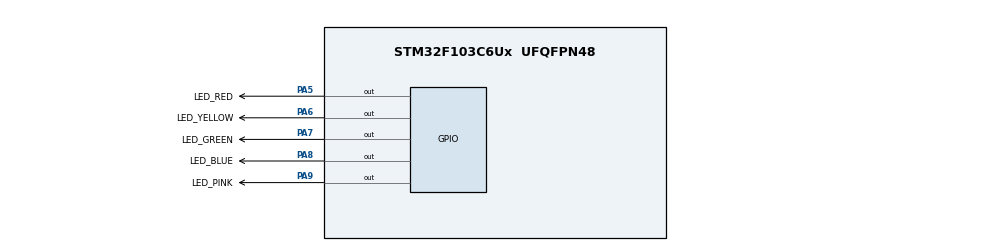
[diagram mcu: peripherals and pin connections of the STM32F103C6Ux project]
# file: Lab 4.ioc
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Mcu.Family=STM32F1
Mcu.Name=STM32F103C6Ux
Mcu.Package=UFQFPN48
NVIC.PriorityGroup=NVIC_PRIORITYGROUP_4
NVIC.TIM2_IRQn=true\:0\:0\:false\:false\:true\:true\:true
PA5.GPIO_Label=LED_RED
PA5.Signal=GPIO_Output
PA6.GPIO_Label=LED_YELLOW
PA6.Signal=GPIO_Output
PA7.GPIO_Label=LED_GREEN
PA7.Signal=GPIO_Output
PA8.GPIO_Label=LED_BLUE
PA8.Signal=GPIO_Output
PA9.GPIO_Label=LED_PINK
PA9.Signal=GPIO_Output
ProjectManager.HeapSize=0x200
ProjectManager.StackSize=0x400
ProjectManager.TargetToolchain=STM32CubeIDE
RCC.APB1Freq_Value=8000000
RCC.APB2Freq_Value=8000000
TIM2.Period=9
TIM2.Prescaler=7999
VP_SYS_VS_ND.Mode=No_Debug
VP_TIM2_VS_ClockSourceINT.Mode=Internal
board=custom

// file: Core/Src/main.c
/* USER CODE BEGIN Header */
/**
  ******************************************************************************
  * @file           : main.c
  * @brief          : Main program body
  ******************************************************************************
  * @attention
  *
  * <h2><center>&copy; Copyright (c) 2025 STMicroelectronics.
  * All rights reserved.</center></h2>
  *
  * This software component is licensed by ST under BSD 3-Clause license,
  * the "License"; You may not use this file except in compliance with the
  * License. You may obtain a copy of the License at:
  *                        opensource.org/licenses/BSD-3-Clause
  *
  ******************************************************************************
  */
/* USER CODE END Header */
#include "main.h"

/* USER CODE BEGIN Includes */
#include "scheduler.h"
#include "task.h"
/* USER CODE END Includes */

TIM_HandleTypeDef htim2;

void SystemClock_Config(void);
static void MX_GPIO_Init(void);
static void MX_TIM2_Init(void);

/* USER CODE BEGIN 0 */
void led1test() {
	HAL_GPIO_TogglePin(LED_RED_GPIO_Port, LED_RED_Pin);
}
/* USER CODE END 0 */

int main(void)
{

  /* MCU Configuration--------------------------------------------------------*/

  /* Reset of all peripherals, Initializes the Flash interface and the Systick. */
  HAL_Init();

  /* Configure the system clock */
  SystemClock_Config();

  /* Initialize all configured peripherals */
  MX_GPIO_Init();
  MX_TIM2_Init();
  /* USER CODE BEGIN 2 */
  HAL_TIM_Base_Start_IT(&htim2);

  /* USER CODE END 2 */

  /* Infinite loop */
  /* USER CODE BEGIN WHILE */
  	initLED();
  	SCH_Init();
    SCH_Add_Task(task1, 0, 1000);
    SCH_Add_Task(task2, 0, 1000);
    SCH_Add_Task(task3, 0, 1500);
	SCH_Add_Task(task4, 0, 2000);
	// one shot task
    SCH_Add_Task(task5, 1000, 0);
  while (1)
  {
	  SCH_Dispatch_Tasks();
    /* USER CODE END WHILE */

  }
}

void SystemClock_Config(void)
{
  RCC_OscInitTypeDef RCC_OscInitStruct = {0};
  RCC_ClkInitTypeDef RCC_ClkInitStruct = {0};

  /** Initializes the RCC Oscillators according to the specified parameters
  * in the RCC_OscInitTypeDef structure.
  */
  RCC_OscInitStruct.OscillatorType = RCC_OSCILLATORTYPE_HSI;
  RCC_OscInitStruct.HSIState = RCC_HSI_ON;
  RCC_OscInitStruct.HSICalibrationValue = RCC_HSICALIBRATION_DEFAULT;
  RCC_OscInitStruct.PLL.PLLState = RCC_PLL_NONE;
  if (HAL_RCC_OscConfig(&RCC_OscInitStruct) != HAL_OK)
  {
    Error_Handler();
  }
  /** Initializes the CPU, AHB and APB buses clocks
  */
  RCC_ClkInitStruct.ClockType = RCC_CLOCKTYPE_HCLK|RCC_CLOCKTYPE_SYSCLK
                              |RCC_CLOCKTYPE_PCLK1|RCC_CLOCKTYPE_PCLK2;
  RCC_ClkInitStruct.SYSCLKSource = RCC_SYSCLKSOURCE_HSI;
  RCC_ClkInitStruct.AHBCLKDivider = RCC_SYSCLK_DIV1;
  RCC_ClkInitStruct.APB1CLKDivider = RCC_HCLK_DIV1;
  RCC_ClkInitStruct.APB2CLKDivider = RCC_HCLK_DIV1;

  if (HAL_RCC_ClockConfig(&RCC_ClkInitStruct, FLASH_LATENCY_0) != HAL_OK)
  {
    Error_Handler();
  }
}

static void MX_TIM2_Init(void)
{

  TIM_ClockConfigTypeDef sClockSourceConfig = {0};
  TIM_MasterConfigTypeDef sMasterConfig = {0};

  htim2.Instance = TIM2;
  htim2.Init.Prescaler = 7999;
  htim2.Init.CounterMode = TIM_COUNTERMODE_UP;
  htim2.Init.Period = 9;
  htim2.Init.ClockDivision = TIM_CLOCKDIVISION_DIV1;
  htim2.Init.AutoReloadPreload = TIM_AUTORELOAD_PRELOAD_DISABLE;
  if (HAL_TIM_Base_Init(&htim2) != HAL_OK)
  {
    Error_Handler();
  }
  sClockSourceConfig.ClockSource = TIM_CLOCKSOURCE_INTERNAL;
  if (HAL_TIM_ConfigClockSource(&htim2, &sClockSourceConfig) != HAL_OK)
  {
    Error_Handler();
  }
  sMasterConfig.MasterOutputTrigger = TIM_TRGO_RESET;
  sMasterConfig.MasterSlaveMode = TIM_MASTERSLAVEMODE_DISABLE;
  if (HAL_TIMEx_MasterConfigSynchronization(&htim2, &sMasterConfig) != HAL_OK)
  {
    Error_Handler();
  }

}

static void MX_GPIO_Init(void)
{
  GPIO_InitTypeDef GPIO_InitStruct = {0};

  /* GPIO Ports Clock Enable */
  __HAL_RCC_GPIOA_CLK_ENABLE();

  /*Configure GPIO pin Output Level */
  HAL_GPIO_WritePin(GPIOA, LED_RED_Pin|LED_YELLOW_Pin|LED_GREEN_Pin|LED_BLUE_Pin
                          |LED_PINK_Pin, GPIO_PIN_RESET);

  /*Configure GPIO pins : LED_RED_Pin LED_YELLOW_Pin LED_GREEN_Pin LED_BLUE_Pin
                           LED_PINK_Pin */
  GPIO_InitStruct.Pin = LED_RED_Pin|LED_YELLOW_Pin|LED_GREEN_Pin|LED_BLUE_Pin
                          |LED_PINK_Pin;
  GPIO_InitStruct.Mode = GPIO_MODE_OUTPUT_PP;
  GPIO_InitStruct.Pull = GPIO_NOPULL;
  GPIO_InitStruct.Speed = GPIO_SPEED_FREQ_LOW;
  HAL_GPIO_Init(GPIOA, &GPIO_InitStruct);

}

/* USER CODE BEGIN 4 */
// Kiểm tra timer interrupt - phải là 10ms (100Hz)
void HAL_TIM_PeriodElapsedCallback(TIM_HandleTypeDef *htim) {
    if (htim->Instance == TIM2) { // Thay bằng timer bạn dùng
        SCH_Update(); // Gọi mỗi 10ms
    }
}
/* USER CODE END 4 */

void Error_Handler(void)
{
  __disable_irq();
  while (1)
  {
  }
}

/************************ (C) COPYRIGHT STMicroelectronics *****END OF FILE****/
